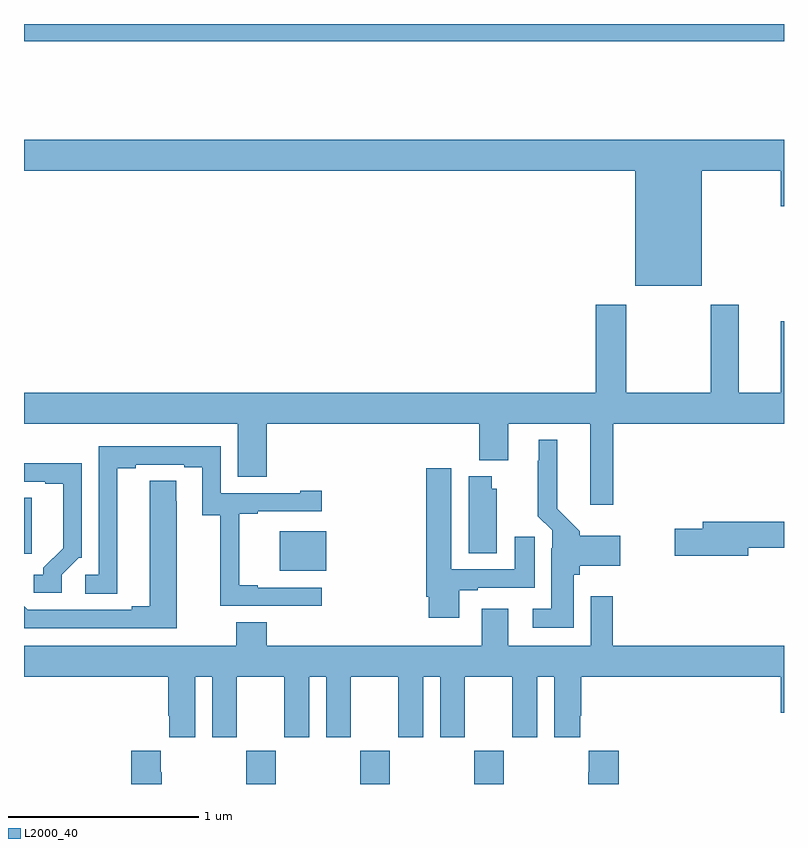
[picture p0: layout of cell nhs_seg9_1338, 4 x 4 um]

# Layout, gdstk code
import gdstk
lib = gdstk.Library(unit=1e-6, precision=1e-09)
def R(c, l, rs):  # rectangles x0, y0, x1, y1
    for r in rs: c.add(gdstk.rectangle(r[:2], r[2:], *l))
def A(c, l, x, y, w, h, nx, ny, dx, dy):  # array of equal rectangles
    R(c, l, [(x+i*dx, y+j*dy, x+i*dx+w, y+j*dy+h) for i in range(nx) for j in range(ny)])
def P(c, l, *ps):  # polygons
    for p in ps: c.add(gdstk.Polygon(p, *l))
L2000_40 = (2000, 40)

nhs_seg9_1338 = lib.new_cell('nhs_seg9_1338')
A(nhs_seg9_1338, L2000_40, 186.169, 1218.5, 0.155, 0.176, 3, 1, 0.6, 0)
R(nhs_seg9_1338, L2000_40, [(186.347,1219.622,186.592,1219.831), (185,1219.712,185.041,1220.006), (185,1222.408,189,1222.5)])
P(nhs_seg9_1338, L2000_40, [(188.566,1221.728),(188.984,1221.728),(188.984,1221.54),(189,1221.54),(189,1221.892),(185,1221.892),(185,1221.728),(188.216,1221.728),(188.216,1221.122),(188.566,1221.122)],
  [(188.102,1220.396),(189,1220.396),(189,1220.935),(188.984,1220.935),(188.984,1220.56),(188.761,1220.56),(188.761,1221.022),(188.614,1221.022),(188.614,1220.56),(188.169,1220.56),(188.169,1221.022),(188.009,1221.022),(188.009,1220.56),(185,1220.56),(185,1220.396),(186.125,1220.396),(186.125,1220.116),(186.278,1220.116),(186.278,1220.396),(187.397,1220.396),(187.397,1220.204),(187.549,1220.204),(187.549,1220.396),(187.979,1220.396),(187.979,1219.971),(188.102,1219.971)],
  [(187.894,1219.602),(187.925,1219.602),(187.925,1219.649),(188.137,1219.649),(188.137,1219.807),(187.925,1219.807),(187.925,1219.83),(187.807,1219.948),(187.807,1220.311),(187.709,1220.311),(187.709,1220.201),(187.705,1220.201),(187.705,1219.91),(187.779,1219.836),(187.779,1219.742),(187.775,1219.742),(187.775,1219.423),(187.677,1219.423),(187.677,1219.322),(187.894,1219.322)],
  [(186.568,1219.533),(186.229,1219.533),(186.229,1219.546),(186.134,1219.546),(186.134,1219.923),(186.229,1219.923),(186.229,1219.935),(186.568,1219.935),(186.568,1220.044),(186.455,1220.044),(186.455,1220.031),(186.036,1220.031),(186.036,1220.277),(185.394,1220.277),(185.394,1219.602),(185.322,1219.602),(185.322,1219.501),(185.491,1219.501),(185.491,1220.161),(185.587,1220.161),(185.587,1220.181),(185.843,1220.181),(185.843,1220.166),(185.939,1220.166),(185.939,1219.915),(186.034,1219.915),(186.034,1219.437),(186.568,1219.437)],
  [(185.199,1219.602),(185.289,1219.692),(185.304,1219.692),(185.304,1220.189),(185.041,1220.189),(185.041,1220.187),(185,1220.187),(185,1220.091),(185.111,1220.091),(185.111,1220.079),(185.207,1220.079),(185.207,1219.742),(185.102,1219.637),(185.102,1219.602),(185.052,1219.602),(185.052,1219.506),(185.199,1219.506)],
  [(187.291,1219.521),(187.387,1219.521),(187.387,1219.533),(187.687,1219.533),(187.687,1219.801),(187.583,1219.801),(187.583,1219.629),(187.249,1219.629),(187.249,1220.161),(187.118,1220.161),(187.118,1219.486),(187.13,1219.486),(187.13,1219.374),(187.291,1219.374)],
  [(187.489,1220.055),(187.462,1220.055),(187.462,1220.119),(187.34,1220.119),(187.34,1219.714),(187.489,1219.714)],
  [(185.803,1219.988),(185.802,1219.988),(185.802,1220.096),(185.663,1220.096),(185.663,1219.436),(185.567,1219.436),(185.567,1219.416),(185.019,1219.416),(185,1219.435),(185,1219.32),(185.803,1219.32)],
  [(188.812,1219.744),(189,1219.744),(189,1219.88),(188.573,1219.88),(188.573,1219.844),(188.424,1219.844),(188.424,1219.702),(188.812,1219.702)],
  [(185.902,1219.064),(185.99,1219.064),(185.99,1218.747),(186.121,1218.747),(186.121,1219.064),(186.371,1219.064),(186.371,1218.747),(186.502,1218.747),(186.502,1219.064),(186.59,1219.064),(186.59,1218.747),(186.721,1218.747),(186.721,1219.064),(186.971,1219.064),(186.971,1218.747),(187.102,1218.747),(187.102,1219.064),(187.19,1219.064),(187.19,1218.747),(187.321,1218.747),(187.321,1219.064),(187.571,1219.064),(187.571,1218.747),(187.702,1218.747),(187.702,1219.064),(187.79,1219.064),(187.79,1218.747),(187.927,1218.747),(187.927,1218.859),(187.934,1218.859),(187.934,1219.064),(188.984,1219.064),(188.984,1218.876),(189,1218.876),(189,1219.228),(188.099,1219.228),(188.099,1219.489),(187.983,1219.489),(187.983,1219.228),(187.549,1219.228),(187.549,1219.423),(187.409,1219.423),(187.409,1219.228),(186.278,1219.228),(186.278,1219.352),(186.118,1219.352),(186.118,1219.228),(185,1219.228),(185,1219.064),(185.759,1219.064),(185.759,1218.859),(185.765,1218.859),(185.765,1218.747),(185.902,1218.747)],
  [(188.129,1218.676),(187.973,1218.676),(187.973,1218.563),(187.969,1218.563),(187.969,1218.5),(188.129,1218.5)],
  [(185.724,1218.563),(185.719,1218.563),(185.719,1218.676),(185.564,1218.676),(185.564,1218.5),(185.724,1218.5)])

lib.write_gds('nhs_seg9_1338.gds')
